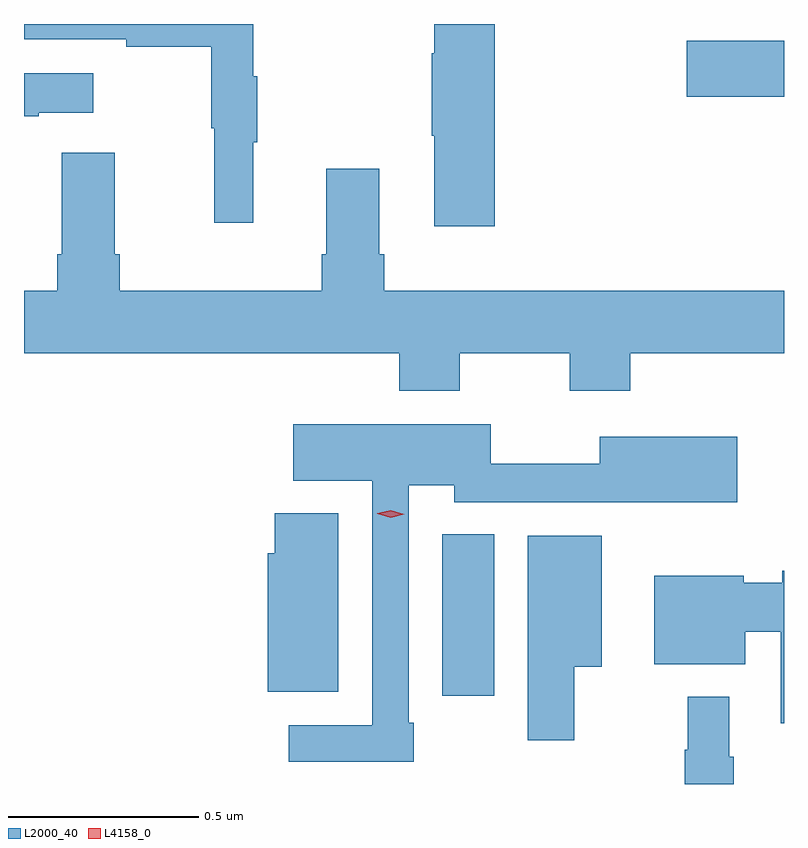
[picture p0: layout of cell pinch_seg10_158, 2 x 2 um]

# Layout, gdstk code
import gdstk
lib = gdstk.Library(unit=1e-6, precision=1e-09)
def R(c, l, rs):  # rectangles x0, y0, x1, y1
    for r in rs: c.add(gdstk.rectangle(r[:2], r[2:], *l))
def P(c, l, *ps):  # polygons
    for p in ps: c.add(gdstk.Polygon(p, *l))
L2000_40 = (2000, 40)
L4158_0 = (4158, 0)

pinch_seg10_158 = lib.new_cell('pinch_seg10_158')
R(pinch_seg10_158, L2000_40, [(667.301,1279.434,667.438,1279.859), (667.944,1281.011,668.2,1281.158)])
P(pinch_seg10_158, L2000_40, [(667.439,1281.202),(667.28,1281.202),(667.28,1281.125),(667.273,1281.125),(667.273,1280.908),(667.28,1280.908),(667.28,1280.67),(667.439,1280.67)],
  [(666.803,1280.891),(666.814,1280.891),(666.814,1281.065),(666.803,1281.065),(666.803,1281.202),(666.2,1281.202),(666.2,1281.162),(666.469,1281.162),(666.469,1281.142),(666.693,1281.142),(666.693,1280.928),(666.7,1280.928),(666.7,1280.679),(666.803,1280.679)],
  [(666.239,1280.969),(666.382,1280.969),(666.382,1281.073),(666.2,1281.073),(666.2,1280.959),(666.239,1280.959)],
  [(667.347,1280.336),(667.636,1280.336),(667.636,1280.237),(667.796,1280.237),(667.796,1280.336),(668.2,1280.336),(668.2,1280.5),(667.148,1280.5),(667.148,1280.596),(667.135,1280.596),(667.135,1280.821),(666.995,1280.821),(666.995,1280.596),(666.983,1280.596),(666.983,1280.5),(666.452,1280.5),(666.452,1280.596),(666.439,1280.596),(666.439,1280.863),(666.299,1280.863),(666.299,1280.596),(666.287,1280.596),(666.287,1280.5),(666.2,1280.5),(666.2,1280.336),(667.187,1280.336),(667.187,1280.237),(667.347,1280.237)],
  [(667.225,1279.363),(667.212,1279.363),(667.212,1279.988),(667.332,1279.988),(667.332,1279.944),(667.819,1279.944),(667.819,1279.943),(668.077,1279.943),(668.077,1280.116),(667.715,1280.116),(667.715,1280.045),(667.428,1280.045),(667.428,1280.149),(666.909,1280.149),(666.909,1280),(667.116,1280),(667.116,1279.356),(666.897,1279.356),(666.897,1279.26),(667.225,1279.26)],
  [(667.027,1279.915),(666.86,1279.915),(666.86,1279.809),(666.842,1279.809),(666.842,1279.445),(667.027,1279.445)],
  [(667.648,1279.511),(667.72,1279.511),(667.72,1279.855),(667.526,1279.855),(667.526,1279.317),(667.648,1279.317)],
  [(668.2,1279.763),(668.196,1279.763),(668.196,1279.732),(668.094,1279.732),(668.094,1279.75),(667.859,1279.75),(667.859,1279.517),(668.098,1279.517),(668.098,1279.603),(668.192,1279.603),(668.192,1279.362),(668.2,1279.362)],
  [(668.068,1279.274),(668.056,1279.274),(668.056,1279.432),(667.947,1279.432),(667.947,1279.292),(667.939,1279.292),(667.939,1279.202),(668.068,1279.202)])
P(pinch_seg10_158, L4158_0, [(667.165,1279.903),(667.13,1279.913),(667.13,1279.914),(667.13,1279.914),(667.165,1279.923),(667.2,1279.912),(667.2,1279.912),(667.2,1279.912)])

lib.write_gds('pinch_seg10_158.gds')
